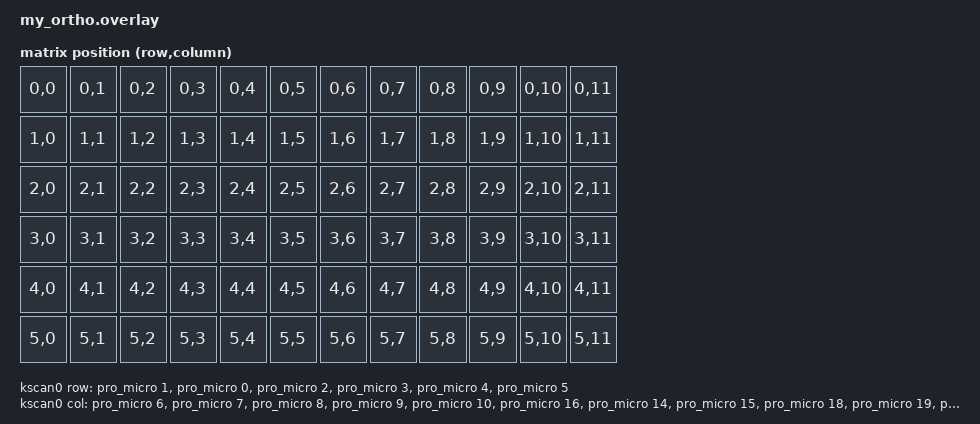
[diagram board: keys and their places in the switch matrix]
#include <dt-bindings/zmk/matrix_transform.h>

/ {
    chosen {
        zmk,kscan = &kscan0;
        zmk,physical-layout = &physical_layout0;
    };

    kscan0: kscan_composite {
        compatible = "zmk,kscan-gpio-matrix";
        label = "KSCAN";
        diode-direction = "row2col";

        row-gpios
            = <&pro_micro 1 GPIO_ACTIVE_HIGH>
            , <&pro_micro 0 GPIO_ACTIVE_HIGH>
            , <&pro_micro 2 GPIO_ACTIVE_HIGH>
            , <&pro_micro 3 GPIO_ACTIVE_HIGH>
            , <&pro_micro 4 GPIO_ACTIVE_HIGH>
            , <&pro_micro 5 GPIO_ACTIVE_HIGH>
            ;

        col-gpios
            = <&pro_micro 6  (GPIO_ACTIVE_HIGH | GPIO_PULL_DOWN)>
            , <&pro_micro 7  (GPIO_ACTIVE_HIGH | GPIO_PULL_DOWN)>
            , <&pro_micro 8  (GPIO_ACTIVE_HIGH | GPIO_PULL_DOWN)>
            , <&pro_micro 9  (GPIO_ACTIVE_HIGH | GPIO_PULL_DOWN)>
            , <&pro_micro 10 (GPIO_ACTIVE_HIGH | GPIO_PULL_DOWN)>
            , <&pro_micro 16 (GPIO_ACTIVE_HIGH | GPIO_PULL_DOWN)>
            , <&pro_micro 14 (GPIO_ACTIVE_HIGH | GPIO_PULL_DOWN)>
            , <&pro_micro 15 (GPIO_ACTIVE_HIGH | GPIO_PULL_DOWN)>
            , <&pro_micro 18 (GPIO_ACTIVE_HIGH | GPIO_PULL_DOWN)>
            , <&pro_micro 19 (GPIO_ACTIVE_HIGH | GPIO_PULL_DOWN)>
            , <&pro_micro 20 (GPIO_ACTIVE_HIGH | GPIO_PULL_DOWN)>
            , <&pro_micro 21 (GPIO_ACTIVE_HIGH | GPIO_PULL_DOWN)>
            ;
    };

    physical_layout0: physical_layout_0 {
        compatible = "zmk,physical-layout";
        display-name = "My Ortho 6x12";
        kscan = <&kscan0>;
        transform = <&default_transform>;
        
        // Массив физических координат кнопок (Index, X_pcb, Y_pcb)
        // Для сетки 12х5 или 12х6 используем шаг в 100 единиц (1U)
        keys = <
            // Строка 0
            <0 0 0>   <1 100 0>   <2 200 0>   <3 300 0>   <4 400 0>   <5 500 0>   <6 600 0>   <7 700 0>   <8 800 0>   <9 900 0>   <10 1000 0>   <11 1100 0>
            // Строка 1
            <12 0 100> <13 100 100> <14 200 100> <15 300 100> <16 400 100> <17 500 100> <18 600 100> <19 700 100> <20 800 100> <21 900 100> <22 1000 100> <23 1100 100>
            // Строка 2
            <24 0 200> <25 100 200> <26 200 200> <27 300 200> <28 400 200> <29 500 200> <30 600 200> <31 700 200> <32 800 200> <33 900 200> <34 1000 200> <35 1100 200>
            // Строка 3
            <36 0 300> <37 100 300> <38 200 300> <39 300 300> <40 400 300> <41 500 300> <42 600 300> <43 700 300> <44 800 300> <45 900 300> <46 1000 300> <47 1100 300>
            // Строка 4
            <48 0 400> <49 100 400> <50 200 400> <51 300 400> <52 400 400> <53 500 400> <54 600 400> <55 700 400> <56 800 400> <57 900 400> <58 1000 400> <59 1100 400>
            // Строка 5
            <60 0 500> <61 100 500> <62 200 500> <63 300 500> <64 400 500> <65 500 500> <66 600 500> <67 700 500> <68 800 500> <69 900 500> <70 1000 500> <71 1100 500>
        >;
    };

    default_transform: matrix_transform {
        compatible = "zmk,matrix-transform";
        rows = <6>;
        columns = <12>;
        map = <
            RC(0,0) RC(0,1) RC(0,2) RC(0,3) RC(0,4) RC(0,5) RC(0,6) RC(0,7) RC(0,8) RC(0,9) RC(0,10) RC(0,11)
            RC(1,0) RC(1,1) RC(1,2) RC(1,3) RC(1,4) RC(1,5) RC(1,6) RC(1,7) RC(1,8) RC(1,9) RC(1,10) RC(1,11)
            RC(2,0) RC(2,1) RC(2,2) RC(2,3) RC(2,4) RC(2,5) RC(2,6) RC(2,7) RC(2,8) RC(2,9) RC(2,10) RC(2,11)
            RC(3,0) RC(3,1) RC(3,2) RC(3,3) RC(3,4) RC(3,5) RC(3,6) RC(3,7) RC(3,8) RC(3,9) RC(3,10) RC(3,11)
            RC(4,0) RC(4,1) RC(4,2) RC(4,3) RC(4,4) RC(4,5) RC(4,6) RC(4,7) RC(4,8) RC(4,9) RC(4,10) RC(4,11)
            RC(5,0) RC(5,1) RC(5,2) RC(5,3) RC(5,4) RC(5,5) RC(5,6) RC(5,7) RC(5,8) RC(5,9) RC(5,10) RC(5,11)
        >;
    };
};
